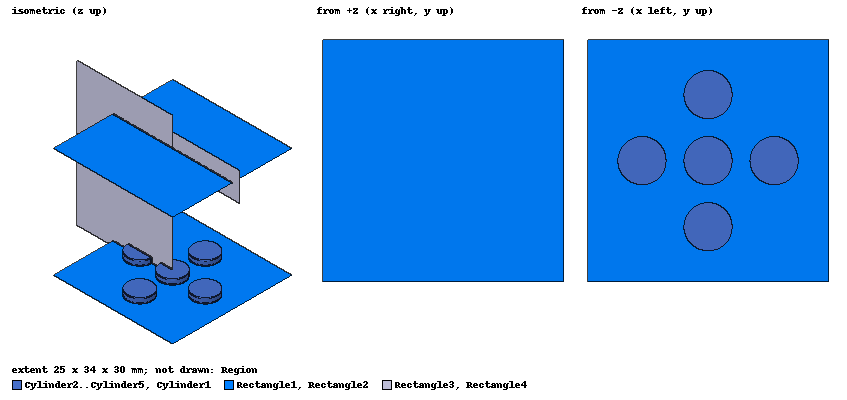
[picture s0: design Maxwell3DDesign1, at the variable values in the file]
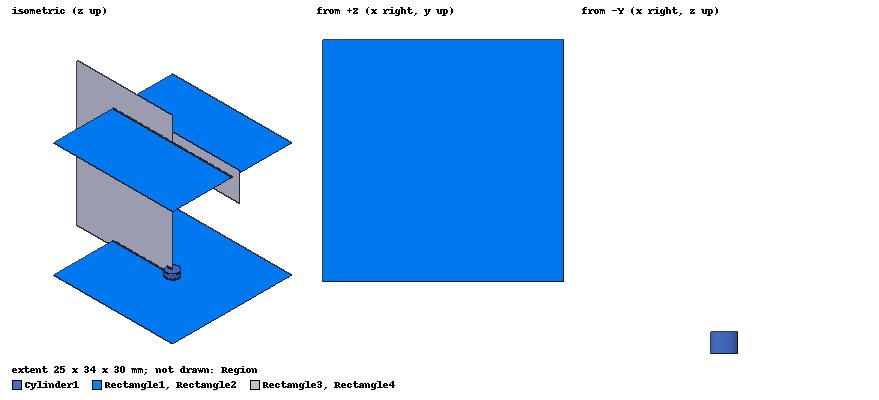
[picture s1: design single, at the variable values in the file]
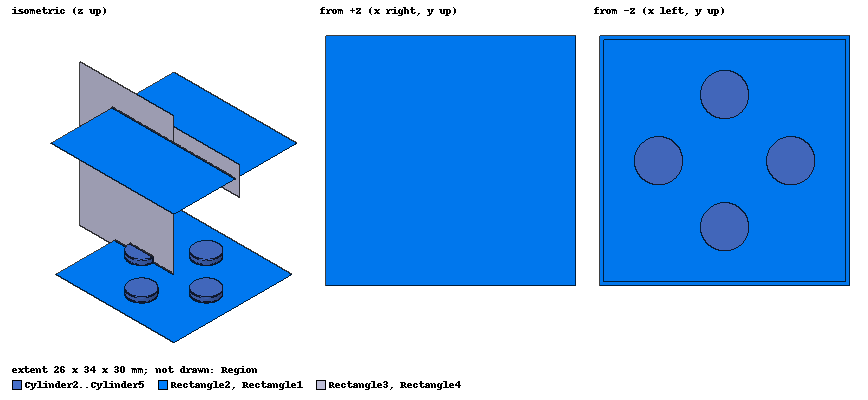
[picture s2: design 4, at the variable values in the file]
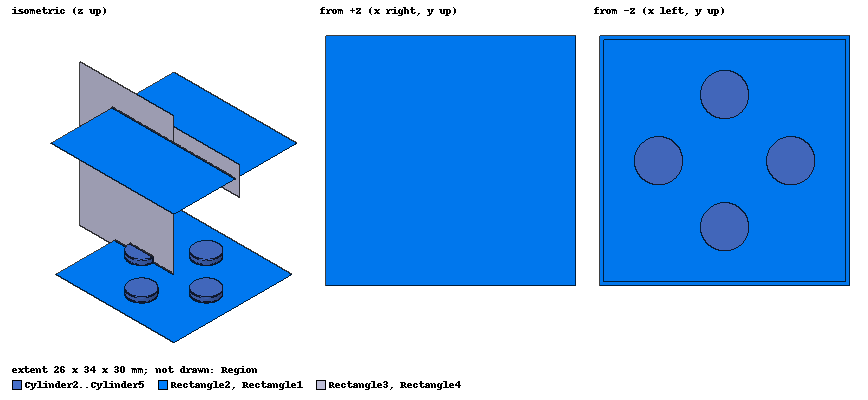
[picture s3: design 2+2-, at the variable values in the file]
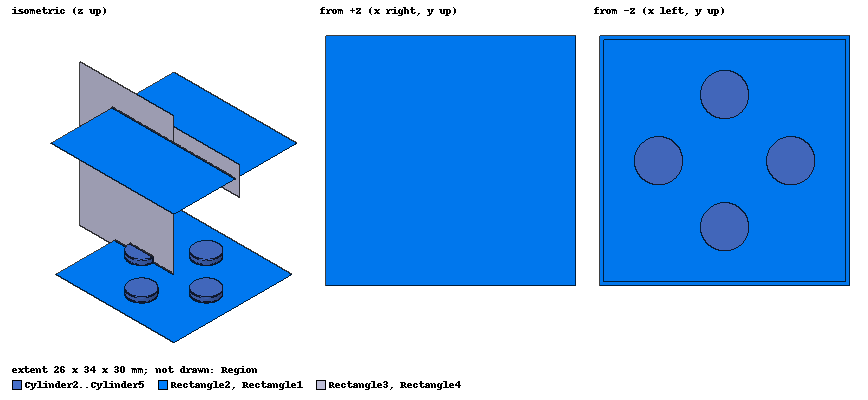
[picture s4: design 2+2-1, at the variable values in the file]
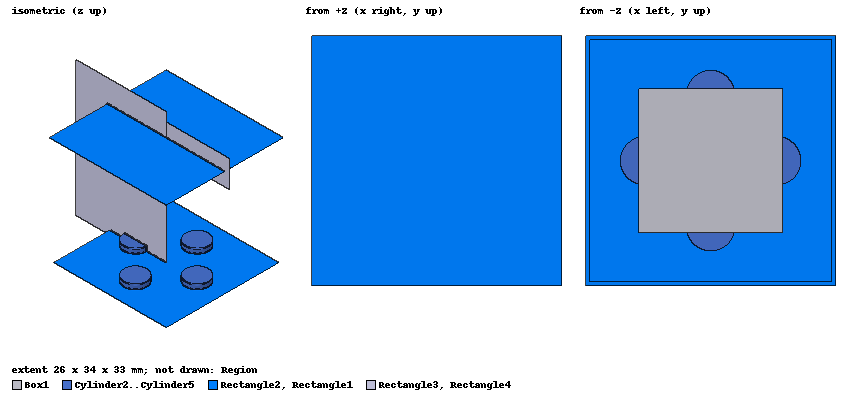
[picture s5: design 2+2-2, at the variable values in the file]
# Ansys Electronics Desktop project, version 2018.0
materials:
  vacuum: permittivity=1
  NdFe35z: permittivity=1 permeability=1.0908373 conductivity=625000 magnetic_coercivity{Magnitude=-890000A_per_meter DirComp1=0 DirComp2=0 DirComp3=1} lande_g_factor=2
  NdFe35z-: permittivity=1 permeability=1.0908373 conductivity=625000 magnetic_coercivity{Magnitude=-890000A_per_meter DirComp1=0 DirComp2=0 DirComp3=-1} lande_g_factor=2
  steel_stainless: conductivity=1100000

design Maxwell3DDesign1 (Maxwell 3D, Magnetostatic, model units mm)
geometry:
  Cylinder1 [NdFe35z] = cylinder(axis=Z, base_centre=(0mm, 0mm, -1mm), radius=2.5mm, height=2mm)
  Cylinder2 [NdFe35z] = cylinder(axis=Z, base_centre=(0mm, 6.85mm, -1mm), radius=2.5mm, height=2mm)
  Cylinder3 [NdFe35z] = cylinder(axis=Z, base_centre=(0mm, -6.85mm, -1mm), radius=2.5mm, height=2mm)
  Cylinder4 [NdFe35z] = cylinder(axis=Z, base_centre=(6.85mm, 0mm, -1mm), radius=2.5mm, height=2mm)
  Cylinder5 [NdFe35z] = cylinder(axis=Z, base_centre=(-6.85mm, 0mm, -1mm), radius=2.5mm, height=2mm)
  Rectangle1 = rectangle(corner=(12.5mm, -12.5mm, 0mm), x_size=-25mm, y_size=25mm)
  Region [vacuum] = region(absolute_offset=50mm on all sides)
  Rectangle2 = rectangle(corner=(12.5mm, -12.5mm, 23mm), x_size=-25mm, y_size=25mm)
  Rectangle3 = rectangle(corner=(0mm, 0mm, -1mm), y_size=-20mm, z_size=30mm)
  Rectangle4 = rectangle(corner=(0mm, 0mm, 26mm), y_size=14mm, z_size=-6mm)
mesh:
  initial mesh: GlobalCurvilinear{Apply}
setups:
  Setup1: Magnetostatic MaximumPasses=10 MinimumPasses=2 MinimumConvergedPasses=1 PercentRefinement=30 PercentError=1 NonLinearResidual=0.001
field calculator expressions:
  B_z = Fundamental_Quantity(22) | ScalarZ
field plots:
  Mag_B1: B over Rectangle2.face on Setup1 : LastAdaptive
  Mag_B2: B over Rectangle3.face on Setup1 : LastAdaptive
  B_z1: Bz over Rectangle3.face on Setup1 : LastAdaptive
  B_z2: NamedExpr over Rectangle2.face on Setup1 : LastAdaptive
  B_z3: NamedExpr over Rectangle4.face on Setup1 : LastAdaptive

design single (Maxwell 3D, Magnetostatic, model units mm)
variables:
  D = 2.5mm
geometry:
  Cylinder1 [NdFe35z] = cylinder(axis=Z, base_centre=(0mm, 0mm, -1mm), radius=D/2, height=2mm)
  Rectangle1 = rectangle(corner=(12.5mm, -12.5mm, 0mm), x_size=-25mm, y_size=25mm)
  Region [vacuum] = region(absolute_offset=50mm on all sides)
  Rectangle2 = rectangle(corner=(12.5mm, -12.5mm, 24mm), x_size=-25mm, y_size=25mm)
  Rectangle3 = rectangle(corner=(0mm, 0mm, -1mm), y_size=-20mm, z_size=30mm)
  Rectangle4 = rectangle(corner=(0mm, 0mm, 26mm), y_size=14mm, z_size=-6mm)
  point Point1 = (0mm, 0mm, 25mm)
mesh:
  initial mesh: GlobalCurvilinear{Apply}
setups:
  Setup1: Magnetostatic MaximumPasses=10 MinimumPasses=2 MinimumConvergedPasses=1 PercentRefinement=30 PercentError=1 NonLinearResidual=0.001
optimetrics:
  ParametricSetup1: Parametric Sim._Setups=[Setup1]
    sweep D: LIN 0.5mm 10mm 0.5mm
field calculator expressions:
  B_z = Fundamental_Quantity(22) | ScalarZ
  dB_z_div_dz = Fundamental_Quantity(22) | ScalarZ | d/dz
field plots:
  Mag_B1: B over Rectangle2.face on Setup1 : LastAdaptive
  Mag_B2: B over Rectangle3.face on Setup1 : LastAdaptive
  B_z1: Bz over Rectangle3.face on Setup1 : LastAdaptive
  B_z2: NamedExpr over Rectangle2.face on Setup1 : LastAdaptive
  B_z3: NamedExpr over Rectangle4.face on Setup1 : LastAdaptive
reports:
  Calculator Expressions Plot 1: abs(B_z) vs D on Setup1 : LastAdaptive
  Calculator Expressions Plot 2: dB_z_div_dz vs D on Setup1 : LastAdaptive

design 4 (Maxwell 3D, Magnetostatic, model units mm)
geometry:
  Cylinder2 [NdFe35z] = cylinder(axis=Z, base_centre=(0mm, 6.85mm, -1mm), radius=2.5mm, height=2mm)
  Cylinder3 [NdFe35z] = cylinder(axis=Z, base_centre=(0mm, -6.85mm, -1mm), radius=2.5mm, height=2mm)
  Cylinder4 [NdFe35z] = cylinder(axis=Z, base_centre=(6.85mm, 0mm, -1mm), radius=2.5mm, height=2mm)
  Cylinder5 [NdFe35z] = cylinder(axis=Z, base_centre=(-6.85mm, 0mm, -1mm), radius=2.5mm, height=2mm)
  Rectangle1 = rectangle(corner=(12.5mm, -12.5mm, 0mm), x_size=-25mm, y_size=25mm)
  Region [vacuum] = region(absolute_offset=50mm on all sides)
  Rectangle2 = rectangle(corner=(13mm, -13mm, 24mm), x_size=-26mm, y_size=26mm)
  Rectangle3 = rectangle(corner=(0mm, 0mm, -1mm), y_size=-20mm, z_size=30mm)
  Rectangle4 = rectangle(corner=(0mm, 0mm, 27mm), y_size=14mm, z_size=-6mm)
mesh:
  initial mesh: GlobalCurvilinear{Apply}
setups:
  Setup1: Magnetostatic MaximumPasses=10 MinimumPasses=2 MinimumConvergedPasses=1 PercentRefinement=30 PercentError=1 NonLinearResidual=0.001
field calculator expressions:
  B_z = Fundamental_Quantity(22) | ScalarZ
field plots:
  B_z2: Mag_Bz(T) over Rectangle2.face on Setup1 : LastAdaptive
  B_z3: Mag_Bz(T) over Rectangle4.face on Setup1 : LastAdaptive

design 2+2- (Maxwell 3D, Magnetostatic, model units mm)
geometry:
  Cylinder2 [NdFe35z-] = cylinder(axis=Z, base_centre=(0mm, 6.85mm, -1mm), radius=2.5mm, height=2mm)
  Cylinder3 [NdFe35z-] = cylinder(axis=Z, base_centre=(0mm, -6.85mm, -1mm), radius=2.5mm, height=2mm)
  Cylinder4 [NdFe35z] = cylinder(axis=Z, base_centre=(6.85mm, 0mm, -1mm), radius=2.5mm, height=2mm)
  Cylinder5 [NdFe35z] = cylinder(axis=Z, base_centre=(-6.85mm, 0mm, -1mm), radius=2.5mm, height=2mm)
  Rectangle1 = rectangle(corner=(12.5mm, -12.5mm, 0mm), x_size=-25mm, y_size=25mm)
  Region [vacuum] = region(absolute_offset=50mm on all sides)
  Rectangle2 = rectangle(corner=(13mm, -13mm, 24mm), x_size=-26mm, y_size=26mm)
  Rectangle3 = rectangle(corner=(0mm, 0mm, -1mm), y_size=-20mm, z_size=30mm)
  Rectangle4 = rectangle(corner=(0mm, 0mm, 27mm), y_size=14mm, z_size=-6mm)
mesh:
  initial mesh: GlobalCurvilinear{Apply}
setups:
  Setup1: Magnetostatic MaximumPasses=10 MinimumPasses=2 MinimumConvergedPasses=1 PercentRefinement=30 PercentError=1 NonLinearResidual=0.001
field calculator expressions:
  B_z = Fundamental_Quantity(22) | ScalarZ
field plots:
  B_z2: Mag_Bz(T) over Rectangle2.face on Setup1 : LastAdaptive
  B_z3: Mag_Bz(T) over Rectangle4.face on Setup1 : LastAdaptive

design 2+2-1 (Maxwell 3D, Magnetostatic, model units mm)
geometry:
  Cylinder2 [NdFe35z] = cylinder(axis=Z, base_centre=(0mm, 6.85mm, -1mm), radius=2.5mm, height=2mm)
  Cylinder3 [NdFe35z-] = cylinder(axis=Z, base_centre=(0mm, -6.85mm, -1mm), radius=2.5mm, height=2mm)
  Cylinder4 [NdFe35z] = cylinder(axis=Z, base_centre=(6.85mm, 0mm, -1mm), radius=2.5mm, height=2mm)
  Cylinder5 [NdFe35z] = cylinder(axis=Z, base_centre=(-6.85mm, 0mm, -1mm), radius=2.5mm, height=2mm)
  Rectangle1 = rectangle(corner=(12.5mm, -12.5mm, 0mm), x_size=-25mm, y_size=25mm)
  Region [vacuum] = region(absolute_offset=50mm on all sides)
  Rectangle2 = rectangle(corner=(13mm, -13mm, 24mm), x_size=-26mm, y_size=26mm)
  Rectangle3 = rectangle(corner=(0mm, 0mm, -1mm), y_size=-20mm, z_size=30mm)
  Rectangle4 = rectangle(corner=(0mm, 0mm, 27mm), y_size=14mm, z_size=-6mm)
  Box1 [vacuum, non-model] = box(corner=(-13mm, 13mm, 24mm), size=(26mm, -26mm, 4mm))
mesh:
  initial mesh: GlobalCurvilinear{Apply}
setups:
  Setup1: Magnetostatic MaximumPasses=10 MinimumPasses=2 MinimumConvergedPasses=1 PercentRefinement=30 PercentError=1 NonLinearResidual=0.001
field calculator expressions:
  B_z = Fundamental_Quantity(22) | ScalarZ
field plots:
  B_z2: Mag_Bz(T) over Rectangle2.face on Setup1 : LastAdaptive
  B_z3: Mag_Bz(T) over Rectangle4.face on Setup1 : LastAdaptive

design 2+2-2 (Maxwell 3D, Magnetostatic, model units mm)
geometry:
  Cylinder2 [NdFe35z] = cylinder(axis=Z, base_centre=(0mm, 6.85mm, -1mm), radius=2.5mm, height=2mm)
  Cylinder3 [NdFe35z-] = cylinder(axis=Z, base_centre=(0mm, -6.85mm, -1mm), radius=2.5mm, height=2mm)
  Cylinder4 [NdFe35z] = cylinder(axis=Z, base_centre=(6.85mm, 0mm, -1mm), radius=2.5mm, height=2mm)
  Cylinder5 [NdFe35z] = cylinder(axis=Z, base_centre=(-6.85mm, 0mm, -1mm), radius=2.5mm, height=2mm)
  Rectangle1 = rectangle(corner=(12.5mm, -12.5mm, 0mm), x_size=-25mm, y_size=25mm)
  Region [vacuum] = region(absolute_offset=50mm on all sides)
  Rectangle2 = rectangle(corner=(13mm, -13mm, 24mm), x_size=-26mm, y_size=26mm)
  Rectangle3 = rectangle(corner=(0mm, 0mm, -1mm), y_size=-20mm, z_size=30mm)
  Rectangle4 = rectangle(corner=(0mm, 0mm, 27mm), y_size=14mm, z_size=-6mm)
  Box1 [steel_stainless] = box(corner=(7.5mm, -7.5mm, -4mm), size=(-15mm, 15mm, 2mm))
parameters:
  Force1: Force Reference_CS=Global Is_Virtual=true Objects=Box1
  Force2: Force Reference_CS=Global Is_Virtual=true Objects=Box1
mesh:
  initial mesh: GlobalCurvilinear{Apply}
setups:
  Setup1: Magnetostatic MaximumPasses=10 MinimumPasses=2 MinimumConvergedPasses=1 PercentRefinement=30 PercentError=1 NonLinearResidual=0.001
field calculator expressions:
  B_z = Fundamental_Quantity(22) | ScalarZ
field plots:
  B_z2: Mag_Bz(T) over Rectangle2.face on Setup1 : LastAdaptive
  B_z3: Mag_Bz(T) over Rectangle4.face on Setup1 : LastAdaptive
